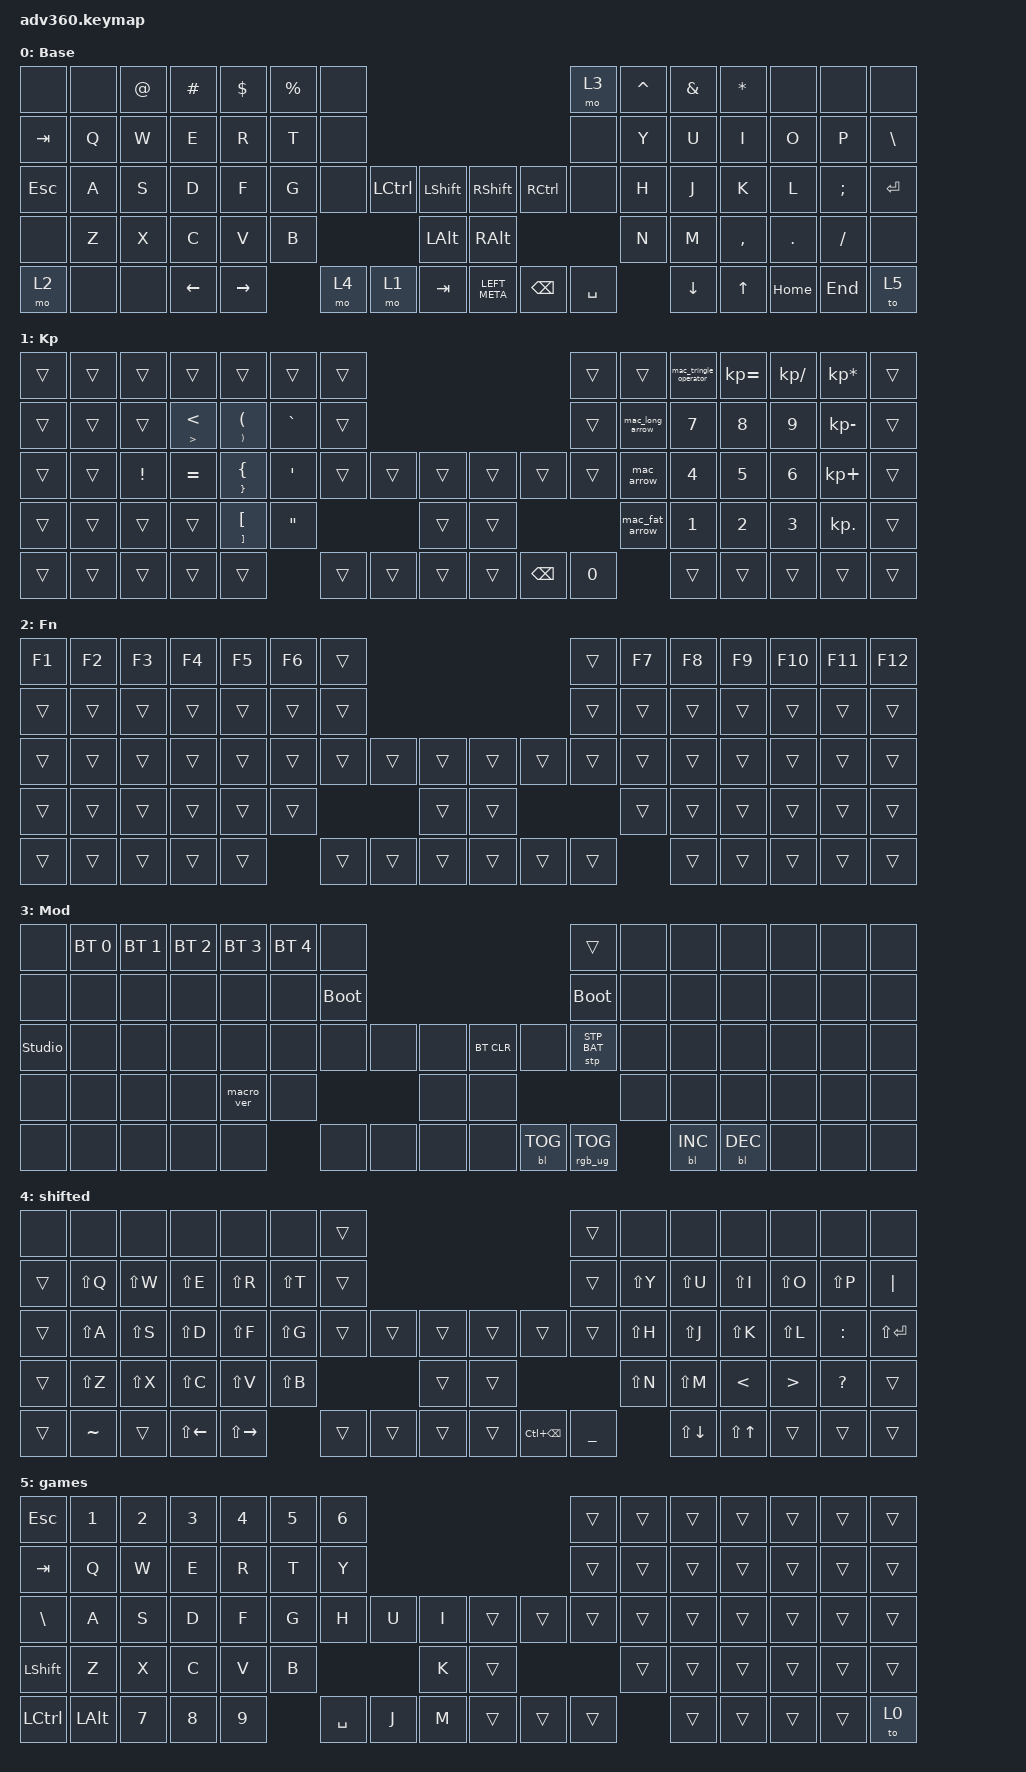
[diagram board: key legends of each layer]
#include <dt-bindings/zmk/stp.h>
#include <behaviors.dtsi>
#include <dt-bindings/zmk/backlight.h>
#include <dt-bindings/zmk/bt.h>
#include <dt-bindings/zmk/keys.h>
#include <dt-bindings/zmk/rgb.h>

/ {
    behaviors {
        #include "macros.dtsi"
      #include "version.dtsi"

        tap_braces: tap_braces {
            compatible = "zmk,behavior-tap-dance";
            label = "TAP_BRACES";
            #binding-cells = <0>;
            bindings = <&kp LEFT_BRACE>, <&kp RIGHT_BRACE>;
        };

        tap_brackets: tap_brackets {
            compatible = "zmk,behavior-tap-dance";
            label = "TAP_BRACKETS";
            #binding-cells = <0>;
            bindings = <&kp LEFT_BRACKET>, <&kp RIGHT_BRACKET>;
        };

        tap_parens: tap_parens {
            compatible = "zmk,behavior-tap-dance";
            label = "TAP_PARENS";
            #binding-cells = <0>;
            bindings = <&kp LEFT_PARENTHESIS>, <&kp RIGHT_PARENTHESIS>;
        };

        tap_or_hold_write: tap_or_hold_write {
            compatible = "zmk,behavior-hold-tap";
            label = "TAP_OR_HOLD_WRITE";
            bindings = <&kp>, <&kp>;

            #binding-cells = <2>;
            tapping-term-ms = <200>;
        };
    };

    macros {
        mac_arrow: mac_arrow {
            compatible = "zmk,behavior-macro";
            #binding-cells = <0>;
            bindings = <&kp MINUS &kp GT>;
            label = "MAC_ARROW";
        };

        mac_fat_arrow: mac_fat_arrow {
            compatible = "zmk,behavior-macro";
            #binding-cells = <0>;
            bindings = <&kp EQUAL &kp GT>;
            label = "MAC_FAT_ARROW";
        };

        mac_long_arrow: mac_long_arrow {
            compatible = "zmk,behavior-macro";
            #binding-cells = <0>;
            bindings = <&kp EQUAL &kp EQUAL &kp GT>;
            label = "MAC_LONG_ARROW";
        };

        mac_tringle_operator: mac_tringle_operator {
            compatible = "zmk,behavior-macro";
            #binding-cells = <0>;
            bindings = <&kp PIPE &kp GREATER_THAN>;
            label = "MAC_TRINGLE_OPERATOR";
        };
    };

    keymap {
        compatible = "zmk,keymap";

        default_layer {
            display-name = "Base";
            bindings = <
&none    &none  &kp AT_SIGN  &kp HASH  &kp DOLLAR  &kp PERCENT  &none                                                                 &mo 3      &kp CARET  &kp AMPERSAND  &kp ASTERISK  &none     &none     &none
&kp TAB  &kp Q  &kp W        &kp E     &kp R       &kp T        &none                                                                 &none      &kp Y      &kp U          &kp I         &kp O     &kp P     &kp BSLH
&kp ESC  &kp A  &kp S        &kp D     &kp F       &kp G        &none  &kp LCTRL  &kp LEFT_SHIFT      &kp RIGHT_SHIFT  &kp RCTRL      &none      &kp H      &kp J          &kp K         &kp L     &kp SEMI  &kp ENTER
&none    &kp Z  &kp X        &kp C     &kp V       &kp B                          &kp LEFT_ALT        &kp RIGHT_ALT                              &kp N      &kp M          &kp COMMA     &kp DOT   &kp FSLH  &none
&mo 2    &none  &none        &kp LEFT  &kp RIGHT                &mo 4  &mo 1      &kp TAB             &kp LEFT_META    &kp BACKSPACE  &kp SPACE             &kp DOWN       &kp UP_ARROW  &kp HOME  &kp END   &to 5
            >;
        };

        keypad {
            display-name = "Kp";
            bindings = <
&trans  &trans  &trans           &trans                                     &trans                                                 &trans             &trans                                             &trans        &trans           &mac_tringle_operator  &kp KP_EQUAL  &kp KP_DIVIDE  &kp KP_MULTIPLY  &trans
&trans  &trans  &trans           &tap_or_hold_write GREATER_THAN LESS_THAN  &tap_or_hold_write RIGHT_PARENTHESIS LEFT_PARENTHESIS  &kp GRAVE          &trans                                             &trans        &mac_long_arrow  &kp NUMBER_7           &kp NUMBER_8  &kp NUMBER_9   &kp KP_MINUS     &trans
&trans  &trans  &kp EXCLAMATION  &kp EQUAL                                  &tap_or_hold_write RIGHT_BRACE LEFT_BRACE              &kp SINGLE_QUOTE   &trans  &trans  &trans      &trans  &trans         &trans        &mac_arrow       &kp NUMBER_4           &kp NUMBER_5  &kp NUMBER_6   &kp KP_PLUS      &trans
&trans  &trans  &trans           &trans                                     &tap_or_hold_write RIGHT_BRACKET LEFT_BRACKET          &kp DOUBLE_QUOTES                  &trans      &trans                               &mac_fat_arrow   &kp NUMBER_1           &kp NUMBER_2  &kp NUMBER_3   &kp KP_DOT       &trans
&trans  &trans  &trans           &trans                                     &trans                                                                    &trans  &trans  &trans      &trans  &kp BACKSPACE  &kp NUMBER_0                   &trans                 &trans        &trans         &trans           &trans
            >;
        };

        fn {
            display-name = "Fn";
            bindings = <
&kp F1  &kp F2  &kp F3  &kp F4  &kp F5  &kp F6  &trans                                      &trans  &kp F7  &kp F8  &kp F9  &kp F10  &kp F11  &kp F12
&trans  &trans  &trans  &trans  &trans  &trans  &trans                                      &trans  &trans  &trans  &trans  &trans   &trans   &trans
&trans  &trans  &trans  &trans  &trans  &trans  &trans  &trans  &trans      &trans  &trans  &trans  &trans  &trans  &trans  &trans   &trans   &trans
&trans  &trans  &trans  &trans  &trans  &trans                  &trans      &trans                  &trans  &trans  &trans  &trans   &trans   &trans
&trans  &trans  &trans  &trans  &trans          &trans  &trans  &trans      &trans  &trans  &trans          &trans  &trans  &trans   &trans   &trans
            >;
        };

        mod {
            display-name = "Mod";
            bindings = <
&none           &bt BT_SEL 0  &bt BT_SEL 1  &bt BT_SEL 2  &bt BT_SEL 3  &bt BT_SEL 4  &none                                                  &trans           &none  &none       &none       &none  &none  &none
&none           &none         &none         &none         &none         &none         &bootloader                                            &bootloader      &none  &none       &none       &none  &none  &none
&studio_unlock  &none         &none         &none         &none         &none         &none        &none  &none      &bt BT_CLR  &none       &stp STP_BAT     &none  &none       &none       &none  &none  &none
&none           &none         &none         &none         &macro_ver    &none                             &none      &none                                    &none  &none       &none       &none  &none  &none
&none           &none         &none         &none         &none                       &none        &none  &none      &none       &bl BL_TOG  &rgb_ug RGB_TOG         &bl BL_INC  &bl BL_DEC  &none  &none  &none
            >;
        };

        shifted {
            bindings = <
&none   &none      &none      &none         &none          &none      &trans                                                 &trans          &none      &none         &none             &none             &none         &none
&trans  &kp LS(Q)  &kp LS(W)  &kp LS(E)     &kp LS(R)      &kp LS(T)  &trans                                                 &trans          &kp LS(Y)  &kp LS(U)     &kp LS(I)         &kp LS(O)         &kp LS(P)     &kp PIPE
&trans  &kp LS(A)  &kp LS(S)  &kp LS(D)     &kp LS(F)      &kp LS(G)  &trans  &trans  &trans      &trans  &trans             &trans          &kp LS(H)  &kp LS(J)     &kp LS(K)         &kp LS(L)         &kp COLON     &kp LS(ENTER)
&trans  &kp LS(Z)  &kp LS(X)  &kp LS(C)     &kp LS(V)      &kp LS(B)                  &trans      &trans                                     &kp LS(N)  &kp LS(M)     &kp LESS_THAN     &kp GREATER_THAN  &kp QUESTION  &trans
&trans  &kp TILDE  &trans     &kp LS(LEFT)  &kp LS(RIGHT)             &trans  &trans  &trans      &trans  &kp LC(BACKSPACE)  &kp UNDERSCORE             &kp LS(DOWN)  &kp LS(UP_ARROW)  &trans            &trans        &trans
            >;

            label = "shifted";
        };

        games {
            bindings = <
&kp ESC    &kp N1    &kp N2  &kp N3  &kp N4  &kp N5  &kp N6                                       &trans  &trans  &trans  &trans  &trans  &trans  &trans
&kp TAB    &kp Q     &kp W   &kp E   &kp R   &kp T   &kp Y                                        &trans  &trans  &trans  &trans  &trans  &trans  &trans
&kp BSLH   &kp A     &kp S   &kp D   &kp F   &kp G   &kp H      &kp U  &kp I      &trans  &trans  &trans  &trans  &trans  &trans  &trans  &trans  &trans
&kp LSHFT  &kp Z     &kp X   &kp C   &kp V   &kp B                     &kp K      &trans                  &trans  &trans  &trans  &trans  &trans  &trans
&kp LCTRL  &kp LALT  &kp N7  &kp N8  &kp N9          &kp SPACE  &kp J  &kp M      &trans  &trans  &trans          &trans  &trans  &trans  &trans  &to 0
            >;
        };

        extra1 {
            display-name = "Red";
            status = "reserved";
        };

        extra2 {
            display-name = "Purple";
            status = "reserved";
        };

        extra3 {
            display-name = "Cyan";
            status = "reserved";
        };

        extra4 {
            display-name = "Yellow";
            status = "reserved";
        };
    };
};
